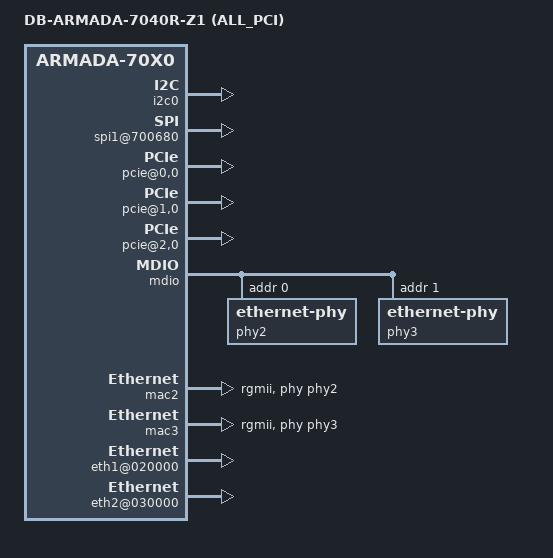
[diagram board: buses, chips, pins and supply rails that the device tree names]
/*
 * ***************************************************************************
 * Copyright (C) 2015 Marvell International Ltd.
 * ***************************************************************************
 * This program is free software: you can redistribute it and/or modify it
 * under the terms of the GNU General Public License as published by the Free
 * Software Foundation, either version 2 of the License, or any later version.
 *
 * This program is distributed in the hope that it will be useful,
 * but WITHOUT ANY WARRANTY; without even the implied warranty of
 * MERCHANTABILITY or FITNESS FOR A PARTICULAR PURPOSE.  See the
 * GNU General Public License for more details.
 *
 * You should have received a copy of the GNU General Public License
 * along with this program.  If not, see <http://www.gnu.org/licenses/>.
 * ***************************************************************************
 */

/dts-v1/;

#include "armada-70x0-rz.dtsi" /* include SoC device tree */
#include "armada-7040-rz-dev-info.dtsi" /* include Marvell specific info (S@R, MPP cmd) */

/ {
	model = "DB-ARMADA-7040R-Z1 (ALL_PCI)";
	compatible = "marvell,armada-70x0-db", "marvell,armada-70x0";
	fdt_config_id = <2>;
	board_id = <0x11>;

	memory {
		device_type = "memory";
		reg = <0x00000000 0x10000000 0 0>; /* 256 MB */
	};

	ap-806 {
		internal-regs {
			spi0: spi@510600 {
				status = "disabled";
			};
			i2c0: i2c@511000 {
				status = "okay";
			};
			pinctl@6F008C {
					  /* 0 1 2 3 4 5 6 7 8 9 */
				pin-func = < 1 1 1 1 1 1 1 1 1 0
					     0 0 0 1 0 0>;
			};
		};
		pcie-controller {
			pcie@1,0 {
				status = "disabled";
			};
		};
	};
	cp110-master {
		internal-regs {
			spi0@700600 {
				status = "disabled";
			};
			spi1@700680 {
				status = "okay";
			};
			i2c@701000 {
				status = "disabled";
			};
			usb3@500000 {
				status = "disabled";
			};
			usb3@510000 {
				status = "disabled";
			};
			sata@540000 {
				status = "disabled";
			};
			mmc@780000 {
				status = "disabled";
			};
			pcie-controller {
				pcie@0,0 {
					status = "okay";
				};
				pcie@1,0 {
					status = "okay";
				};
				pcie@2,0 {
					status = "okay";
				};
			};
			nand@720000 {
				status = "disabled";
			};

			pinctl@440000 {
					/* MPP Bus:
					   RGMII0[0-11]
					   SPI   [13-16]
					   SATA1 [28]
					   UART0 [29-30]
					   SMI	 [32,34]
					   SATA0 [36]
					   I2C	 [37-38]
					   UART1 [40-41]
					   XSMI	 [42-43]
					   RGMII1[44-55]
					   SD	 [56-62]
					*/
					/*   0   1   2   3   4   5   6   7   8   9 */
				pin-func = < 3   3   3   3   3   3   3   3   3   3
					     3   3   0   3   3   3   3   0   0   0
					     0   0   0   0   0   0   0   0   9   0xA
					     0xA 0   7   0   7   0   6   2   2   0
					     7   7   8   8   1   1   1   1   1   1
					     1 	 1   1   1   1   1   0xE 0xE 0xE 0xE
					     0xE 0xE 0xE 0>;
			};

			comphy {
				/* Serdes Configuration:
					Lane 0-3: PEX0x4
					Lane 4:   PEX1x1
					Lane 5:   PEX2x1
				*/
				phy0 {
					phy-type = <PHY_TYPE_PEX0>;
					phy-speed = <PHY_SPEED_5G>;
				};
				phy1 {
					phy-type = <PHY_TYPE_PEX0>;
					phy-speed = <PHY_SPEED_5G>;
				};
				phy2 {
					phy-type = <PHY_TYPE_PEX0>;
					phy-speed = <PHY_SPEED_5G>;
				};
				phy3 {
					phy-type = <PHY_TYPE_PEX0>;
					phy-speed = <PHY_SPEED_5G>;
				};
				phy4 {
					phy-type = <PHY_TYPE_PEX1>;
					phy-speed = <PHY_SPEED_5G>;
				};
				phy5 {
					phy-type = <PHY_TYPE_PEX2>;
					phy-speed = <PHY_SPEED_5G>;
				};
			};
			mdio {
				#address-cells = <1>;
				#size-cells = <0>;
				phy2: ethernet-phy@2 {
					reg = <0>;
				};
				phy3: ethernet-phy@3 {
					reg = <1>;
				};
			};
			gop {
				mac0 {
					phy-mode = "sgmii"; /* lane-2 */
					status = "disabled";
				};
				mac2 {
					phy-mode = "rgmii"; /* rgmii-0 */
					phy = <&phy2>;
					status = "okay";
				};
				mac3 {
					phy-mode = "rgmii"; /* rgmii-1 */
					phy = <&phy3>;
					status = "okay";
				};
			};
			ppv22@000000 {
				eth0@010000 {
					status = "disabled";
				};
				eth1@020000 {
					status = "okay";
				};
				eth2@030000 {
					status = "okay";
				};
			};
		};
	};
};
